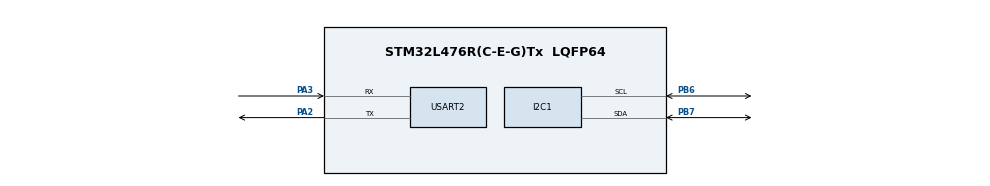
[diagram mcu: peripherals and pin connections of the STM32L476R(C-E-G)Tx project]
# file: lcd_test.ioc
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I2C1.Timing=0x00100D14
Mcu.Family=STM32L4
Mcu.Name=STM32L476R(C-E-G)Tx
Mcu.Package=LQFP64
NVIC.PriorityGroup=NVIC_PRIORITYGROUP_4
NVIC.USART2_IRQn=true\:0\:0\:false\:false\:true\:true\:true\:true
PA13\ (JTMS-SWDIO).Mode=Serial_Wire
PA13\ (JTMS-SWDIO).Signal=SYS_JTMS-SWDIO
PA14\ (JTCK-SWCLK).Mode=Serial_Wire
PA14\ (JTCK-SWCLK).Signal=SYS_JTCK-SWCLK
PA2.Mode=Asynchronous
PA2.Signal=USART2_TX
PA3.Mode=Asynchronous
PA3.Signal=USART2_RX
PB6.Mode=I2C
PB6.Signal=I2C1_SCL
PB7.Mode=I2C
PB7.Signal=I2C1_SDA
ProjectManager.HeapSize=0x200
ProjectManager.StackSize=0x400
ProjectManager.TargetToolchain=STM32CubeIDE
RCC.HSE_VALUE=8000000
RCC.HSI_VALUE=16000000
RCC.LSE_VALUE=32768
RCC.MSI_VALUE=4000000
RCC.VCOOutputFreq_Value=32000000
USART2.VirtualMode-Asynchronous=VM_ASYNC
board=custom

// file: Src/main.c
/* USER CODE BEGIN Header */
/**
  ******************************************************************************
  * @file           : main.c
  * @brief          : Main program body
  ******************************************************************************
  * @attention
  *
  * Copyright (c) 2026 STMicroelectronics.
  * All rights reserved.
  *
  * This software is licensed under terms that can be found in the LICENSE file
  * in the root directory of this software component.
  * If no LICENSE file comes with this software, it is provided AS-IS.
  *
  ******************************************************************************
  */
/* USER CODE END Header */
#include "main.h"

/* USER CODE BEGIN Includes */
#include "lcd.h"
#include <stdio.h>
/* USER CODE END Includes */

I2C_HandleTypeDef hi2c1;

UART_HandleTypeDef huart2;

void SystemClock_Config(void);
static void MX_GPIO_Init(void);
static void MX_I2C1_Init(void);
static void MX_USART2_UART_Init(void);

int main(void)
{

  /* MCU Configuration--------------------------------------------------------*/

  /* Reset of all peripherals, Initializes the Flash interface and the Systick. */
  HAL_Init();

  /* Configure the system clock */
  SystemClock_Config();

  /* Initialize all configured peripherals */
  MX_GPIO_Init();
  MX_I2C1_Init();
  MX_USART2_UART_Init();
  /* USER CODE BEGIN 2 */
  /* I2C scan to check if ports are being recognized
   *
  char msg[32];
  int len = sprintf(msg, "Starting scan\r\n");
  HAL_UART_Transmit(&huart2, (uint8_t*) msg, len, 100);
  for (uint8_t addr = 1; addr < 128; addr++)
  {
	  HAL_StatusTypeDef status = HAL_I2C_IsDeviceReady(&hi2c1, addr << 1, 1, 100);
      if (status == HAL_OK)
      {
          len = sprintf(msg, "Found: 0x%X\r\n", addr);
          HAL_UART_Transmit(&huart2, (uint8_t*)msg, len, 100);
      } else if (status == HAL_TIMEOUT) {
    	  len = sprintf(msg, "Timeout: 0x%X\r\n", addr);
    	  HAL_UART_Transmit(&huart2, (uint8_t*) msg, len, 100);
      } else {
    	  len = sprintf(msg, "Other: 0x%X\r\n", addr);
    	  HAL_UART_Transmit(&huart2, (uint8_t*) msg, len, 100);
      }
  }
  */

  uint8_t byte;
  uint8_t col = 0, row = 0;

  lcd_init();
  lcd_set_cursor(0, 0);

  /* USER CODE END 2 */

  /* Infinite loop */
  while (1)
  {

    /* USER CODE BEGIN 3 */
	  HAL_UART_Receive(&huart2, &byte, 1, HAL_MAX_DELAY);
	  if ((char) byte == '\r') {
		  lcd_clear();
		  lcd_set_cursor(0, 0);
		  col = row = 0;
	  } else if ((char) byte == '\n') {
		  lcd_set_cursor(0, 1);
		  col = 0, row = 1;
	  } else if ((char) byte == '\b') {
		  if (col > 0) {
			  col--;
			  lcd_set_cursor(col, row);
			  lcd_send_byte(' ', 1);
			  lcd_set_cursor(col, row);
		  }
	  } else {
		  lcd_send_byte(byte, 1);
		  col++;
	  }
  }
  /* USER CODE END 3 */
}

void SystemClock_Config(void)
{
  RCC_OscInitTypeDef RCC_OscInitStruct = {0};
  RCC_ClkInitTypeDef RCC_ClkInitStruct = {0};

  /** Configure the main internal regulator output voltage
  */
  if (HAL_PWREx_ControlVoltageScaling(PWR_REGULATOR_VOLTAGE_SCALE1) != HAL_OK)
  {
    Error_Handler();
  }

  /** Initializes the RCC Oscillators according to the specified parameters
  * in the RCC_OscInitTypeDef structure.
  */
  RCC_OscInitStruct.OscillatorType = RCC_OSCILLATORTYPE_MSI;
  RCC_OscInitStruct.MSIState = RCC_MSI_ON;
  RCC_OscInitStruct.MSICalibrationValue = 0;
  RCC_OscInitStruct.MSIClockRange = RCC_MSIRANGE_6;
  RCC_OscInitStruct.PLL.PLLState = RCC_PLL_NONE;
  if (HAL_RCC_OscConfig(&RCC_OscInitStruct) != HAL_OK)
  {
    Error_Handler();
  }

  /** Initializes the CPU, AHB and APB buses clocks
  */
  RCC_ClkInitStruct.ClockType = RCC_CLOCKTYPE_HCLK|RCC_CLOCKTYPE_SYSCLK
                              |RCC_CLOCKTYPE_PCLK1|RCC_CLOCKTYPE_PCLK2;
  RCC_ClkInitStruct.SYSCLKSource = RCC_SYSCLKSOURCE_MSI;
  RCC_ClkInitStruct.AHBCLKDivider = RCC_SYSCLK_DIV1;
  RCC_ClkInitStruct.APB1CLKDivider = RCC_HCLK_DIV1;
  RCC_ClkInitStruct.APB2CLKDivider = RCC_HCLK_DIV1;

  if (HAL_RCC_ClockConfig(&RCC_ClkInitStruct, FLASH_LATENCY_0) != HAL_OK)
  {
    Error_Handler();
  }
}

static void MX_I2C1_Init(void)
{

  hi2c1.Instance = I2C1;
  hi2c1.Init.Timing = 0x00100D14;
  hi2c1.Init.OwnAddress1 = 0;
  hi2c1.Init.AddressingMode = I2C_ADDRESSINGMODE_7BIT;
  hi2c1.Init.DualAddressMode = I2C_DUALADDRESS_DISABLE;
  hi2c1.Init.OwnAddress2 = 0;
  hi2c1.Init.OwnAddress2Masks = I2C_OA2_NOMASK;
  hi2c1.Init.GeneralCallMode = I2C_GENERALCALL_DISABLE;
  hi2c1.Init.NoStretchMode = I2C_NOSTRETCH_DISABLE;
  if (HAL_I2C_Init(&hi2c1) != HAL_OK)
  {
    Error_Handler();
  }

  /** Configure Analogue filter
  */
  if (HAL_I2CEx_ConfigAnalogFilter(&hi2c1, I2C_ANALOGFILTER_ENABLE) != HAL_OK)
  {
    Error_Handler();
  }

  /** Configure Digital filter
  */
  if (HAL_I2CEx_ConfigDigitalFilter(&hi2c1, 0) != HAL_OK)
  {
    Error_Handler();
  }

}

static void MX_USART2_UART_Init(void)
{

  huart2.Instance = USART2;
  huart2.Init.BaudRate = 115200;
  huart2.Init.WordLength = UART_WORDLENGTH_8B;
  huart2.Init.StopBits = UART_STOPBITS_1;
  huart2.Init.Parity = UART_PARITY_NONE;
  huart2.Init.Mode = UART_MODE_TX_RX;
  huart2.Init.HwFlowCtl = UART_HWCONTROL_NONE;
  huart2.Init.OverSampling = UART_OVERSAMPLING_16;
  huart2.Init.OneBitSampling = UART_ONE_BIT_SAMPLE_DISABLE;
  huart2.AdvancedInit.AdvFeatureInit = UART_ADVFEATURE_NO_INIT;
  if (HAL_UART_Init(&huart2) != HAL_OK)
  {
    Error_Handler();
  }

}

static void MX_GPIO_Init(void)
{

  /* GPIO Ports Clock Enable */
  __HAL_RCC_GPIOA_CLK_ENABLE();
  __HAL_RCC_GPIOB_CLK_ENABLE();

}

void Error_Handler(void)
{
  __disable_irq();
  while (1)
  {
  }
}
